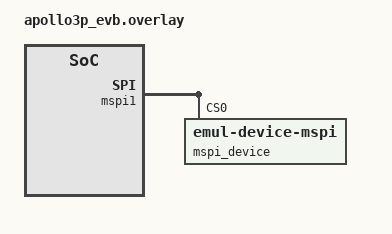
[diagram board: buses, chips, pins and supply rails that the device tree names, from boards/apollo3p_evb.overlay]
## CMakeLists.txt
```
# Copyright (c) 2024 Ambiq Micro Inc. <www.ambiq.com>
# SPDX-License-Identifier: Apache-2.0

cmake_minimum_required(VERSION 3.28.0)

find_package(Zephyr REQUIRED HINTS $ENV{ZEPHYR_BASE})
project(mspi_api)

if(CONFIG_DT_HAS_AMBIQ_MSPI_CONTROLLER_ENABLED)
  target_include_directories(app PRIVATE ${ZEPHYR_BASE}/drivers/mspi)
endif()

FILE(GLOB app_sources src/*.c)
target_sources(app PRIVATE ${app_sources})
```

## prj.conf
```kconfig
# Copyright (c) 2024 Ambiq Micro Inc. <www.ambiq.com>
# SPDX-License-Identifier: Apache-2.0

CONFIG_ZTEST=y
CONFIG_MSPI=y
```

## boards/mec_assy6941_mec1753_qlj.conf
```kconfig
CONFIG_MSPI_DMA=y
```

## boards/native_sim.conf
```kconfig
# Copyright (c) 2024 Ambiq Micro Inc. <www.ambiq.com>
# SPDX-License-Identifier: Apache-2.0

CONFIG_EMUL=y
```

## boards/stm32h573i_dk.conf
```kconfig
# SPDX-FileCopyrightText: Copyright The Zephyr Project Contributors
# SPDX-License-Identifier: Apache-2.0

CONFIG_LOG=y
CONFIG_MSPI_LOG_LEVEL_INF=y
```

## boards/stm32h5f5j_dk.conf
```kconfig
# Copyright (c) 2026 EXALT Technologies
# SPDX-License-Identifier: Apache-2.0

CONFIG_LOG=y
CONFIG_FLASH=y
CONFIG_MSPI_LOG_LEVEL_INF=y
CONFIG_HEAP_MEM_POOL_SIZE=8192
CONFIG_MSPI_MEMMAP=y
```

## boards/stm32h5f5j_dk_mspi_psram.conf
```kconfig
# Copyright (c) 2026 EXALT Technologies
# SPDX-License-Identifier: Apache-2.0

CONFIG_LOG=y
CONFIG_MSPI_LOG_LEVEL_INF=y
CONFIG_MSPI_MEMMAP=y
CONFIG_MSPI_TIMING=y
CONFIG_MEMC=y
CONFIG_HEAP_MEM_POOL_SIZE=8192
```

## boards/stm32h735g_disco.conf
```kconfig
# SPDX-FileCopyrightText: Copyright The Zephyr Project Contributors
# SPDX-License-Identifier: Apache-2.0

CONFIG_LOG=y
CONFIG_MSPI_LOG_LEVEL_INF=y

CONFIG_FLASH=y
```

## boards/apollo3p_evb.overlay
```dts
/*
 * Copyright (c) 2024 Ambiq Micro Inc. <www.ambiq.com>
 * SPDX-License-Identifier: Apache-2.0
 */

/ {
	aliases {
		mspi0 = &mspi1;
	};
};

&gpio32_63 {
	status = "okay";
};

&mspi1 {
	compatible = "ambiq,mspi-controller";
	pinctrl-0 = <&mspi1_default>;
	pinctrl-1 = <&mspi1_sleep>;
	pinctrl-2 = <&mspi1_emul>;

	ce-gpios = <&gpio32_63 18 GPIO_ACTIVE_LOW>;
	status = "okay";

	mspi_device: mspi_device@0 {
		compatible = "zephyr,emul-device-mspi";
		reg = <0x0>;
		mspi-max-frequency = <48000000>;
		status = "okay";
	};
};

&pinctrl {
	mspi1_sleep: mspi1_sleep {
		group1 {
			pinmux = <GPIO_P51>,
				 <GPIO_P52>,
				 <GPIO_P53>,
				 <GPIO_P54>,
				 <GPIO_P55>,
				 <GPIO_P56>,
				 <GPIO_P57>,
				 <GPIO_P58>,
				 <GPIO_P59>,
				 <GPIO_P69>,
				 <GPIO_P50>;
		};
	};

	mspi1_emul: mspi1_emul {
		group1 {
			pinmux = <MSPI1_0_P51>,
				 <MSPI1_1_P52>,
				 <MSPI1_2_P53>,
				 <MSPI1_3_P54>,
				 <MSPI1_4_P55>,
				 <MSPI1_5_P56>,
				 <MSPI1_6_P57>,
				 <MSPI1_7_P58>;
			drive-strength = "0.75";
			ambiq,iom-mspi = <0>;
			ambiq,iom-num = <1>;
		};

		group2 {
			pinmux = <MSPI1_8_P59>;
			drive-strength = "0.75";
			ambiq,iom-mspi = <0>;
			ambiq,iom-num = <2>;
		};

		group3 {
			pinmux = <NCE50_P50>;
			drive-strength = "1.0";
			ambiq,iom-mspi = <0>;
			ambiq,iom-num = <1>;
		};

		group4 {
			pinmux = <GPIO_P69>;
		};
	};
};
```

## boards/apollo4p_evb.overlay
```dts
/*
 * Copyright (c) 2025 Ambiq Micro Inc. <www.ambiq.com>
 *
 * SPDX-License-Identifier: Apache-2.0
 */
/ {
	aliases {
		mspi0 = &mspi2;
	};
};

&mspi2 {
	pinctrl-names = "default", "emul";
	pinctrl-0 = <&mspi2_default>;
	pinctrl-1 = <&mspi2_emul>;

	cmdq-buffer-location = ".ambiq_dma_buff";
	cmdq-buffer-size = <256>;

	status = "okay";
	ce-gpios = <&gpio0_31 0 GPIO_ACTIVE_LOW>;

	mspi_device: mspi_device@0 {
		status = "okay";
		compatible = "zephyr,mspi-emul-device";
		reg = <0x0>;
		mspi-max-frequency = <48000000>;
	};
};

&pinctrl {
	mspi2_emul: mspi2_emul {
		group1 {
			pinmux = <MSPI2_0_P74>,
				 <MSPI2_1_P75>,
				 <MSPI2_8_P82>;
		};

		group2 {
			pinmux = <NCE0_P0>;
			drive-push-pull;
			drive-strength = "0.5";
			ambiq,nce-src = <36>;
		};
	};

	mspi2_sleep: mspi2_sleep {
		group1 {
			pinmux = <GPIO_P74>,
				 <GPIO_P75>,
				 <GPIO_P76>,
				 <GPIO_P77>,
				 <GPIO_P78>,
				 <GPIO_P79>,
				 <GPIO_P80>,
				 <GPIO_P81>,
				 <GPIO_P82>,
				 <GPIO_P83>,
				 <GPIO_P0>;
		};
	};
};
```

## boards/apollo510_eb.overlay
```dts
/*
 * Copyright (c) 2024 Ambiq Micro Inc. <www.ambiq.com>
 *
 * SPDX-License-Identifier: Apache-2.0
 */
/ {
	aliases {
		mspi0 = &mspi2;
	};
};

&mspi2 {
	pinctrl-0 = <&mspi2_default>;
	pinctrl-1 = <&mspi2_sleep>;
	pinctrl-2 = <&mspi2_psram>;

	cmdq-buffer-location = "SRAM_NO_CACHE";
	cmdq-buffer-size = <256>;

	status = "okay";
	ce-gpios = <&gpio32_63 31 GPIO_ACTIVE_LOW>;

	mspi_device: mspi_device@0 {
		status = "okay";
		compatible = "zephyr,mspi-emul-device";
		reg = <0x0>;
		mspi-max-frequency = <48000000>;
	};
};

&gpio32_63 {
	status = "okay";
};
```

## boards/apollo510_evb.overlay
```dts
/*
 * Copyright (c) 2025 Ambiq Micro Inc. <www.ambiq.com>
 *
 * SPDX-License-Identifier: Apache-2.0
 */
/ {
	aliases {
		mspi0 = &mspi2;
	};
};

&mspi2 {
	pinctrl-0 = <&mspi2_default>;
	pinctrl-1 = <&mspi2_sleep>;
	pinctrl-2 = <&mspi2_default>;

	cmdq-buffer-location = "SRAM_NO_CACHE";
	cmdq-buffer-size = <256>;

	status = "okay";
	ce-gpios = <&gpio32_63 31 GPIO_ACTIVE_LOW>;

	mspi_device: mspi_device@0 {
		status = "okay";
		compatible = "zephyr,emul-device-mspi";
		reg = <0x0>;
		mspi-max-frequency = <48000000>;
	};
};

&pinctrl {
	mspi2_default: mspi2_default {
		group0 {
			pinmux = <MSPI2_0_P74>,
				 <MSPI2_1_P75>,
				 <MSPI2_8_P82>,
				 <MNCE2_0_P63>;
			drive-strength = "0.5";
		};
	};

	mspi2_sleep: mspi2_sleep {
		group0 {
			pinmux = <GPIO_P74>,
				 <GPIO_P75>,
				 <GPIO_P76>,
				 <GPIO_P77>,
				 <GPIO_P78>,
				 <GPIO_P79>,
				 <GPIO_P80>,
				 <GPIO_P81>,
				 <GPIO_P82>,
				 <GPIO_P83>,
				 <GPIO_P63>;
		};
	};
};
```

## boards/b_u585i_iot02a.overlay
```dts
/*
 * Copyright (c) 2026 STMicroelectronics
 *
 * SPDX-License-Identifier: Apache-2.0
 */

/ {
	aliases {
		mspi0 = &octospi2;
		ext-nor0 = &mspi_device;
	};
};

/* Delete the ext_flash_ctrl since MSPI_MAX_DEVICE is 1 */
/delete-node/ &ext_flash_ctrl;

&octospi2 {
	mspi_device: mspi_device@0 {
		compatible = "zephyr,emul-device-mspi";
		reg = <0x0>;
		mspi-max-frequency = <48000000>;
		status = "okay";
	};
};
```

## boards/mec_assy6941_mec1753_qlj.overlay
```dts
/*
 * Copyright (c) 2026 Microchip Technology Inc.
 *
 * SPDX-License-Identifier: Apache-2.0
 */

/ {
	aliases {
		mspi0 = &qspi0;
	};
};

&dmac {
	status = "okay";
};

&qspi0 {
	compatible = "microchip,xec-qmspi-controller";
	op-mode = "MSPI_OP_MODE_CONTROLLER";
	duplex = "MSPI_HALF_DUPLEX";
	num-hw-ce = <1>;
	clock-frequency = <DT_FREQ_M(96)>;

	pinctrl-0 = <&qspi_shd_cs0_n_gpio055 &qspi_shd_cs1_n_gpio002
		     &qspi_shd_clk_gpio056
		     &qspi_shd_io0_gpio223 &qspi_shd_io1_gpio224
		     &qspi_shd_io2_gpio227 &qspi_shd_io3_gpio016>;
	pinctrl-1 = <&qspi_shd_io3_gpio016_lp &qspi_shd_io2_gpio227_lp
		     &qspi_shd_io1_gpio224_lp &qspi_shd_io0_gpio223_lp
		     &qspi_shd_clk_gpio056_lp &qspi_shd_cs0_n_gpio055_lp>;
	pinctrl-names = "default", "sleep";
	status = "okay";

	mspi_device: mspi_device@0 {
		compatible = "zephyr,emul-device-mspi";
		reg = <0>;
		mspi-max-frequency = <DT_FREQ_M(24)>;
		status = "okay";
	};
};
```

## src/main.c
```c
/*
 * Copyright (c) 2024 Ambiq Micro Inc. <www.ambiq.com>
 * SPDX-License-Identifier: Apache-2.0
 */

#include <zephyr/device.h>
#include <zephyr/drivers/gpio.h>
#include <zephyr/drivers/mspi.h>
#include <zephyr/drivers/mspi_emul.h>
#include <zephyr/ztest.h>

#define TEST_MSPI_REINIT 1

#define MSPI_BUS_NODE DT_ALIAS(mspi0)

/* add else if for other SoC platforms */
#if defined(CONFIG_SOC_POSIX)
typedef struct mspi_timing_cfg mspi_timing_cfg;
typedef enum mspi_timing_param mspi_timing_param;
#define MSPI_PORT 0
#elif defined(CONFIG_SOC_FAMILY_AMBIQ)
#include "mspi_ambiq.h"
typedef struct mspi_ambiq_timing_cfg mspi_timing_cfg;
typedef enum mspi_ambiq_timing_param mspi_timing_param;
#define MSPI_PORT ((DT_REG_ADDR(MSPI_BUS_NODE) - MSPI0_BASE) / (MSPI1_BASE - MSPI0_BASE))
#else
#define MSPI_PORT 0
#endif

#if defined(CONFIG_SOC_FAMILY_MICROCHIP_SAM_D5X_E5X)
#define MSPI_TEST_DEV_CFG_MASK (MSPI_DEVICE_CONFIG_ALL & ~MSPI_DEVICE_CONFIG_DQS)
#else
#define MSPI_TEST_DEV_CFG_MASK MSPI_DEVICE_CONFIG_ALL
#endif

static const struct device *mspi_devices[] = {
	DT_FOREACH_CHILD_STATUS_OKAY_SEP(MSPI_BUS_NODE, DEVICE_DT_GET, (,))
};

static struct gpio_dt_spec ce_gpios[] = MSPI_CE_GPIOS_DT_SPEC_GET(MSPI_BUS_NODE);

#if TEST_MSPI_REINIT
struct mspi_cfg hardware_cfg = {
	.channel_num              = MSPI_PORT,
	.op_mode                  = DT_ENUM_IDX_OR(MSPI_BUS_NODE, op_mode, MSPI_OP_MODE_CONTROLLER),
	.duplex                   = DT_ENUM_IDX_OR(MSPI_BUS_NODE, duplex, MSPI_HALF_DUPLEX),
	.dqs_support              = DT_PROP_OR(MSPI_BUS_NODE, dqs_support, false),
	.ce_group                 = ce_gpios,
	.num_ce_gpios             = ARRAY_SIZE(ce_gpios),
	.num_periph               = DT_CHILD_NUM(MSPI_BUS_NODE),
	.max_freq                 = DT_PROP(MSPI_BUS_NODE, clock_frequency),
	.re_init                  = true,
};
#endif

static struct mspi_dev_id dev_id[] = {
	DT_FOREACH_CHILD_STATUS_OKAY_SEP(MSPI_BUS_NODE, MSPI_DEVICE_ID_DT, (,))
};

static struct mspi_dev_cfg device_cfg[] = {
	DT_FOREACH_CHILD_STATUS_OKAY_SEP(MSPI_BUS_NODE, MSPI_DEVICE_CONFIG_DT, (,))
};

#if CONFIG_MSPI_MEMMAP
static struct mspi_memmap_cfg memmap_cfg[] = {
	DT_FOREACH_CHILD_STATUS_OKAY_SEP(MSPI_BUS_NODE, MSPI_MEMMAP_CONFIG_DT, (,))
};
#endif

#if CONFIG_MSPI_SCRAMBLE
static struct mspi_scramble_cfg scramble_cfg[] = {
	DT_FOREACH_CHILD_STATUS_OKAY_SEP(MSPI_BUS_NODE, MSPI_SCRAMBLE_CONFIG_DT, (,))
};
#endif

ZTEST(mspi_api, test_mspi_api)
{
	int ret = 0;
	const struct device *mspi_bus = DEVICE_DT_GET(MSPI_BUS_NODE);

	zassert_true(device_is_ready(mspi_bus), "mspi_bus is not ready");

#if TEST_MSPI_REINIT
	const struct mspi_dt_spec spec = {
		.bus = mspi_bus,
		.config = hardware_cfg,
	};

	ret = mspi_config(&spec);
	zassert_equal(ret, 0, "mspi_config failed.");
#endif

	for (int dev_idx = 0; dev_idx < ARRAY_SIZE(mspi_devices); ++dev_idx) {

		zassert_true(device_is_ready(mspi_devices[dev_idx]), "mspi_device is not ready");

		ret = mspi_dev_config(mspi_bus, &dev_id[dev_idx], MSPI_TEST_DEV_CFG_MASK,
				      &device_cfg[dev_idx]);
		zassert_equal(ret, 0, "mspi_dev_config failed.");

#if CONFIG_MSPI_MEMMAP
		ret = mspi_memmap_config(mspi_bus, &dev_id[dev_idx], &memmap_cfg[dev_idx]);
		zassert_equal(ret, 0, "mspi_memmap_config failed.");
#endif

#if CONFIG_MSPI_SCRAMBLE
		ret = mspi_scramble_config(mspi_bus, &dev_id[dev_idx], &scramble_cfg[dev_idx]);
		zassert_equal(ret, 0, "mspi_scramble_config failed.");
#endif

#if CONFIG_MSPI_TIMING
		mspi_timing_cfg timing_cfg;
		mspi_timing_param timing_cfg_mask = 0;

		ret = mspi_timing_config(mspi_bus, &dev_id[dev_idx], timing_cfg_mask, &timing_cfg);
		zassert_equal(ret, 0, "mspi_timing_config failed.");
#endif

		ret = mspi_register_callback(mspi_bus, &dev_id[dev_idx], MSPI_BUS_XFER_COMPLETE,
					     NULL, NULL);
		if (ret == -ENOTSUP) {
			printf("mspi_register_callback not supported.\n");
		} else {
			zassert_equal(ret, 0, "mspi_register_callback failed.");
		}

		ret = mspi_get_channel_status(mspi_bus, 0);
		zassert_equal(ret, 0, "mspi_get_channel_status failed.");
	}
}

ZTEST_SUITE(mspi_api, NULL, NULL, NULL, NULL, NULL);
```

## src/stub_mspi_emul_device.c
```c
/*
 * Copyright (c) 2024 Ambiq Micro Inc. <www.ambiq.com>
 * SPDX-License-Identifier: Apache-2.0
 */

#include <zephyr/device.h>
#include <zephyr/devicetree.h>
#include <zephyr/drivers/emul.h>
#include <zephyr/drivers/mspi.h>
#include <zephyr/drivers/mspi_emul.h>
#define DT_DRV_COMPAT zephyr_emul_device_mspi

/* Stub out a mspi device struct to use mspi_device emulator. */
static int emul_mspi_device_init_stub(const struct device *dev)
{
	ARG_UNUSED(dev);

	return 0;
}

static int emul_mspi_init_stub(const struct emul *stub_emul, const struct device *bus)
{
	ARG_UNUSED(stub_emul);
	ARG_UNUSED(bus);

	return 0;
}

struct emul_mspi_device_stub_dev_data {
	/* Stub */
};
struct emul_mspi_device_stub_dev_config {
	/* Stub */
};
struct emul_mspi_device_stub_dev_api {
	/* Stub */
};

#define EMUL_MSPI_DEVICE_DEVICE_STUB(n)                                                           \
	static struct emul_mspi_device_stub_dev_data stub_device_data_##n;                        \
	static struct emul_mspi_device_stub_dev_config stub_device_config_##n;                    \
	static struct emul_mspi_device_stub_dev_api stub_device_api_##n;                          \
	DEVICE_DT_INST_DEFINE(n,                                                                  \
			      emul_mspi_device_init_stub,                                         \
			      NULL,                                                               \
			      &stub_device_data_##n,                                              \
			      &stub_device_config_##n,                                            \
			      POST_KERNEL,                                                        \
			      CONFIG_MSPI_INIT_PRIORITY,                                          \
			      &stub_device_api_##n);

#define EMUL_TEST(n)                                                                              \
	EMUL_DT_INST_DEFINE(n,                                                                    \
			    emul_mspi_init_stub,                                                  \
			    NULL,                                                                 \
			    NULL,                                                                 \
			    NULL,                                                                 \
			    NULL);

DT_INST_FOREACH_STATUS_OKAY(EMUL_TEST)

DT_INST_FOREACH_STATUS_OKAY(EMUL_MSPI_DEVICE_DEVICE_STUB)
```
